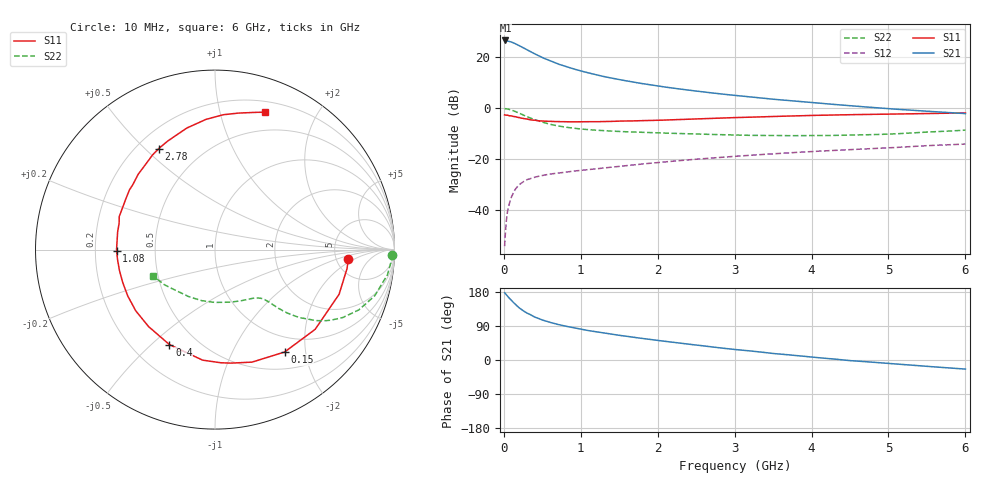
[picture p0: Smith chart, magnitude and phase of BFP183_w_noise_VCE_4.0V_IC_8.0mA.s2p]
! Infineon Technologies  Discrete & RF Semiconductors
! BFP183
! VCE = 4.0 V,  IC =  8.0 mA
! Common Emitter S-Parameters:  Jan 2016
# GHz  S  MA  R  50
!  f  S11  S21  S12  S22
! GHz  MAG  ANG  MAG  ANG  MAG  ANG  MAG  ANG
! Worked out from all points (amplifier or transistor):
!   210 points, 10 MHz to 6 GHz, reference 50 ohm
!   highest |S21| = 26.6 dB at 20 MHz (marker M1)
!   |S21| within 3 dB of that: start of sweep to 260.9 MHz
!   unconditionally stable (mu >= 1): 1.292 GHz to 5.67 GHz
!   at 185 MHz: K = 0.22, MSG = 27.6 dB, |S12| = -30.4 dB
!   at 1.52 GHz: K = 1.06, MAG = 15.4 dB, |S12| = -22.7 dB
!   at 6 GHz: K = 0.94, MSG = 6.0 dB, |S12| = -14.0 dB
!   lowest NFmin = 1.30 dB at 450 MHz
!   S11 on the Smith chart (normalised r, x): 10 MHz: 6.46, -1.50; 150 MHz: 0.75, -1.63; 400 MHz: 0.35, -0.57; 1.08 GHz: 0.29, -0.01; 2.78 GHz: 0.29, +0.55; 6 GHz: 0.30, +1.38
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0.01  0.744 -4.0  21.35 177.5  0.002 86.9  0.989 -1.7
0.02  0.7433 -8.1  21.37 175.4  0.0036 84.1  0.9858 -3.3
0.05  0.7349 -19.8  20.96 167.9  0.01 82.6  0.9711 -8.3
0.1  0.7133 -38.5  19.9 156.7  0.0185 70.5  0.9265 -16.1
0.15  0.6899 -55.8  18.46 146.5  0.0261 63.8  0.8693 -22.7
0.2  0.66 -71.8  17.02 137.6  0.0321 58.4  0.8065 -28.0
0.24  0.6386 -82.1  15.73 131.6  0.0354 53.9  0.7566 -31.3
0.3  0.6198 -96.4  14.1 123.9  0.0401 49.7  0.6879 -35.1
0.4  0.5871 -115.6  11.72 113.4  0.0449 44.2  0.6004 -39.0
0.5  0.5665 -130.8  9.861 105.5  0.0485 40.9  0.535 -41.3
0.6  0.5579 -142.4  8.562 99.2  0.0517 39.8  0.4874 -42.6
0.7  0.5504 -152.1  7.426 93.9  0.0539 38.8  0.4532 -43.4
0.8  0.5459 -160.5  6.642 89.3  0.056 38.2  0.4285 -43.9
1.02  0.546 -175.7  5.301 80.6  0.0613 38.2  0.3921 -45.2
1.08  0.5475 -179.1  5.036 78.4  0.0627 38.4  0.3847 -45.7
1.5  0.5644 160.9  3.66 65.1  0.0731 39.7  0.3524 -49.7
2.02  0.585 141.0  2.709 51.2  0.0873 39.5  0.3303 -57.2
2.78  0.6438 119.1  1.949 32.6  0.1085 37.3  0.3063 -72.4
3.1  0.6646 111.5  1.734 26.0  0.1177 35.9  0.298 -80.0
4.1  0.7309 92.5  1.263 5.9  0.1452 30.1  0.2934 -107.4
5.1  0.7746 79.3  0.962 -10.5  0.1715 24.6  0.3179 -135.1
6  0.8143 70.1  0.79 -24.0  0.1997 17.0  0.3743 -156.9
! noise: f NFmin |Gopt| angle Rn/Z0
0.45  1.3  0.17  43  0.21
0.9  1.35  0.21  115  0.2
1.8  2.05  0.33  -177  0.14
